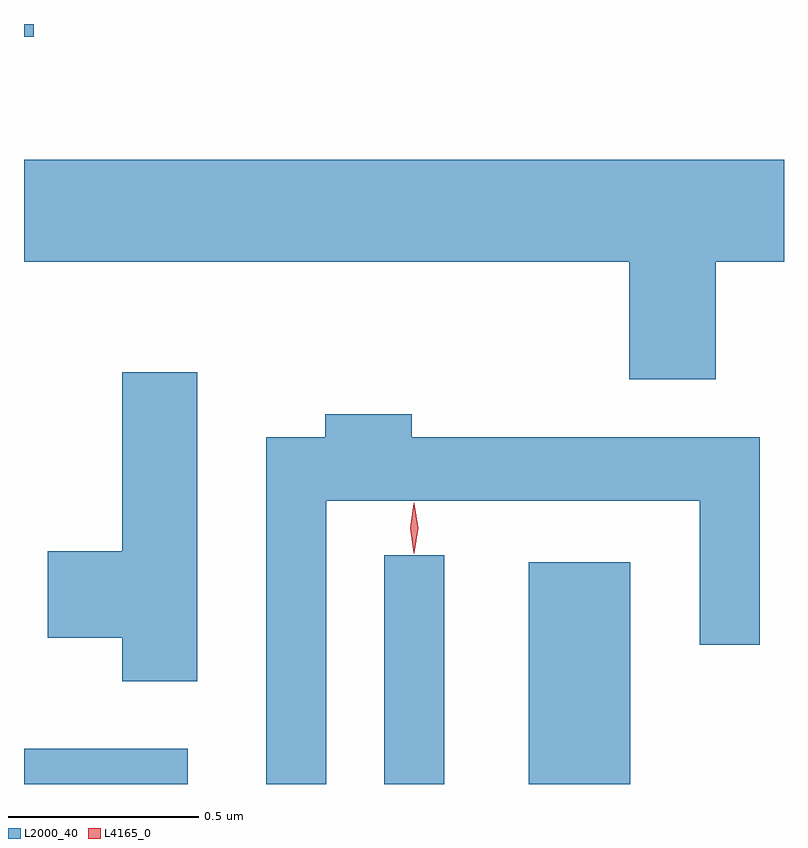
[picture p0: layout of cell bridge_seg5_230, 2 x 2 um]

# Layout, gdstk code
import gdstk
lib = gdstk.Library(unit=1e-6, precision=1e-09)
def R(c, l, rs):  # rectangles x0, y0, x1, y1
    for r in rs: c.add(gdstk.rectangle(r[:2], r[2:], *l))
def P(c, l, *ps):  # polygons
    for p in ps: c.add(gdstk.Polygon(p, *l))
L2000_40 = (2000, 40)
L4165_0 = (4165, 0)

bridge_seg5_230 = lib.new_cell('bridge_seg5_230')
R(bridge_seg5_230, L2000_40, [(1275.828,1417.681,1276.259,1417.774), (1276.776,1417.681,1276.934,1418.283), (1277.156,1417.681,1277.424,1418.264), (1275.828,1419.648,1275.854,1419.681)])
P(bridge_seg5_230, L2000_40, [(1277.649,1419.056),(1277.828,1419.056),(1277.828,1419.324),(1275.828,1419.324),(1275.828,1419.056),(1277.421,1419.056),(1277.421,1418.746),(1277.649,1418.746)],
  [(1276.284,1418.764),(1276.086,1418.764),(1276.086,1418.294),(1275.891,1418.294),(1275.891,1418.066),(1276.086,1418.066),(1276.086,1417.951),(1276.284,1417.951)],
  [(1276.624,1418.426),(1277.606,1418.426),(1277.606,1418.048),(1277.764,1418.048),(1277.764,1418.594),(1276.849,1418.594),(1276.849,1418.654),(1276.621,1418.654),(1276.621,1418.594),(1276.466,1418.594),(1276.466,1417.681),(1276.624,1417.681)])
P(bridge_seg5_230, L4165_0, [(1276.855,1418.287),(1276.854,1418.288),(1276.845,1418.354),(1276.854,1418.42),(1276.855,1418.421),(1276.855,1418.42),(1276.865,1418.354),(1276.855,1418.288)])

lib.write_gds('bridge_seg5_230.gds')
